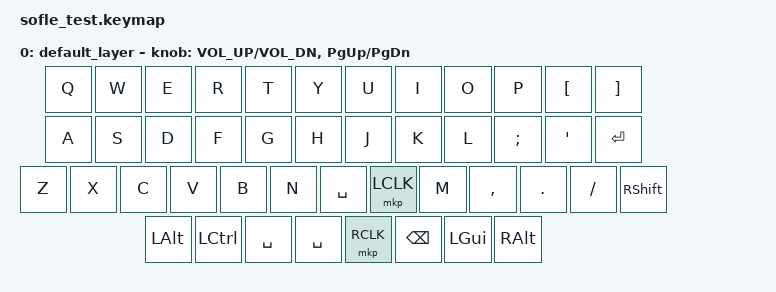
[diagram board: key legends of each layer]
#include <behaviors.dtsi>
#include <dt-bindings/zmk/keys.h>
#include <dt-bindings/zmk/mouse.h>

/ {
    keymap {
        compatible = "zmk,keymap";
        
        // Simple single layer - just basic keys + mouse
        default_layer {
            bindings = <
// ┌─────┬─────┬─────┬─────┬─────┬─────┐                         ┌─────┬─────┬─────┬─────┬─────┬─────┐
    &kp Q  &kp W  &kp E  &kp R  &kp T  &kp Y                       &kp U  &kp I  &kp O  &kp P  &kp LBKT &kp RBKT
// ├─────┼─────┼─────┼─────┼─────┼─────┤                         ├─────┼─────┼─────┼─────┼─────┼─────┤
    &kp A  &kp S  &kp D  &kp F  &kp G  &kp H                       &kp J  &kp K  &kp L  &kp SEMI &kp SQT &kp RET
// ├─────┼─────┼─────┼─────┼─────┼─────┼─────┐             ┌─────┼─────┼─────┼─────┼─────┼─────┼─────┤
    &kp Z  &kp X  &kp C  &kp V  &kp B  &kp N  &kp SPACE           &mkp LCLK &kp M &kp COMMA &kp DOT &kp FSLH &kp RSHFT
// └─────┴─────┴─────┼─────┼─────┼─────┼─────┤             ├─────┼─────┼─────┼─────┼─────┴─────┴─────┘
                      &kp LALT &kp LCTRL &kp SPACE &kp SPACE     &mkp RCLK &kp BSPC &kp LGUI &kp RALT
//                   └─────┴─────┴─────┴─────┘             └─────┴─────┴─────┴─────┘
            >;
            
            sensor-bindings = <&inc_dec_kp C_VOL_UP C_VOL_DN &inc_dec_kp PG_UP PG_DN>;
        };
    };
};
